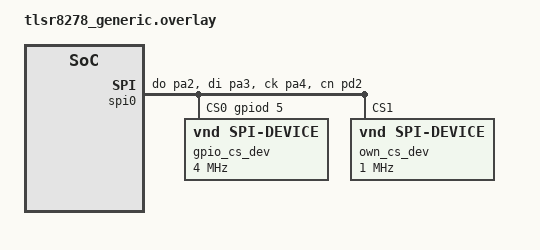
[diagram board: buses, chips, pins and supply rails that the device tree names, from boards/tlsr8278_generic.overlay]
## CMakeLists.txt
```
# SPDX-License-Identifier: Apache-2.0

cmake_minimum_required(VERSION 3.20.0)
find_package(Zephyr REQUIRED HINTS $ENV{ZEPHYR_BASE})
project(spi_tlsr8278)

target_sources(app PRIVATE src/main.c)
```

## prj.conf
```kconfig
CONFIG_ZTEST=y
CONFIG_SPI=y
CONFIG_GPIO=y
CONFIG_CLOCK_CONTROL=y
```

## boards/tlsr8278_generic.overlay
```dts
/*
 * SPDX-License-Identifier: Apache-2.0
 *
 * The SPI master on PA2 (DO), PA3 (DI) and PA4 (CK); a device with its
 * chip select on PD5, active high, and one on the master's own chip
 * select, PD2.
 */

#include <zephyr/dt-bindings/gpio/gpio.h>
#include <zephyr/dt-bindings/pinctrl/b87-pinctrl.h>

&pinctrl {
	spi0_do_pa2: spi0_do_pa2 {
		pinmux = <TLSR8278_PA2_SPI_DO>;
	};

	spi0_di_pa3: spi0_di_pa3 {
		pinmux = <TLSR8278_PA3_SPI_DI>;
		input-enable;
	};

	spi0_ck_pa4: spi0_ck_pa4 {
		pinmux = <TLSR8278_PA4_SPI_CK>;
	};

	spi0_cn_pd2: spi0_cn_pd2 {
		pinmux = <TLSR8278_PD2_SPI_CN>;
	};
};

&gpiod {
	status = "okay";
};

&spi0 {
	status = "okay";
	pinctrl-0 = <&spi0_do_pa2 &spi0_di_pa3 &spi0_ck_pa4 &spi0_cn_pd2>;
	pinctrl-names = "default";
	cs-gpios = <&gpiod 5 GPIO_ACTIVE_HIGH>;

	gpio_cs_dev: device@0 {
		compatible = "vnd,spi-device";
		reg = <0>;
		spi-max-frequency = <4000000>;
		spi-cs-high;
	};

	own_cs_dev: device@1 {
		compatible = "vnd,spi-device";
		reg = <1>;
		spi-max-frequency = <1000000>;
		spi-cpol;
		spi-cpha;
	};
};
```

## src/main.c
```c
/*
 * The TLSR8278 SPI master on tlsr8278_generic, in TC32-devtools' emulator,
 * with the emulator's SPI device (its registers 0xffd8 and 0xffdc): the
 * device gets octets only through the pins the pin controller routes to the
 * SPI and while its chip select is active, keeps what it gets and answers
 * with a count. Writes, writes then reads, the refusal of a full-duplex
 * frame, the clock divider and mode registers, a GPIO chip select (active
 * high) and the master's own.
 *
 * SPDX-License-Identifier: Apache-2.0
 */

#include <zephyr/drivers/gpio.h>
#include <zephyr/drivers/spi.h>
#include <zephyr/sys/sys_io.h>
#include <zephyr/ztest.h>

#define DEV_CFG  0x0080ffd8U /* emulator only */
#define DEV_FIFO 0x0080ffdcU /* emulator only */
#define SPI_CLK  0x0080000aU
#define SPI_MODE 0x0080000bU
#define SPI_CTRL 0x00800009U
#define PD_OUT   0x0080059bU

#define OP (SPI_WORD_SET(8) | SPI_OP_MODE_CONTROLLER)

static const struct spi_dt_spec gpio_cs = SPI_DT_SPEC_GET(DT_NODELABEL(gpio_cs_dev), OP);
static const struct spi_dt_spec own_cs = SPI_DT_SPEC_GET(DT_NODELABEL(own_cs_dev), OP);

/* A device whose chip select is PD5 (active high) or the master's own; it
 * answers with a count from 0x40.
 */
static void device(bool own)
{
	sys_write32((own ? 0xffU << 16 : (BIT(24) | (0x1dU << 16))) | (0x40U << 8) | 2U, DEV_CFG);
}

static uint32_t transactions(void)
{
	return sys_read32(DEV_CFG) >> 16;
}

static uint32_t octets(void)
{
	return sys_read32(DEV_CFG) & 0xffffU;
}

ZTEST(spi_tlsr8278, test_write)
{
	uint8_t tx[] = {0x20, 0x00, 0x11, 0x22};
	struct spi_buf b = {.buf = tx, .len = sizeof(tx)};
	struct spi_buf_set s = {.buffers = &b, .count = 1};

	zassert_true(spi_is_ready_dt(&gpio_cs));
	device(false);
	zassert_ok(spi_write_dt(&gpio_cs, &s));
	zassert_equal(transactions(), 1U);
	zassert_equal(octets(), sizeof(tx));
	for (size_t i = 0; i < sizeof(tx); i++) {
		zassert_equal(sys_read8(DEV_FIFO), tx[i], "octet %u", (unsigned int)i);
	}
	/* 4 MHz from 48 MHz: divider 5, the SPI function on; mode 0; chip select low again. */
	zassert_equal(sys_read8(SPI_CLK), 0x85U, "0x0a 0x%02x", sys_read8(SPI_CLK));
	zassert_equal(sys_read8(SPI_MODE), 0U);
	zassert_equal(sys_read8(PD_OUT) & BIT(5), 0U, "PD5 left high");

	/* A second write is a second transaction. */
	zassert_ok(spi_write_dt(&gpio_cs, &s));
	zassert_equal(transactions(), 2U);
	zassert_equal(octets(), 2U * sizeof(tx));
}

ZTEST(spi_tlsr8278, test_write_then_read)
{
	uint8_t cmd[] = {0x03, 0x10};
	uint8_t in[3] = {0};
	struct spi_buf txb = {.buf = cmd, .len = sizeof(cmd)};
	struct spi_buf rxb[] = {{.buf = NULL, .len = sizeof(cmd)}, {.buf = in, .len = sizeof(in)}};
	struct spi_buf_set tx = {.buffers = &txb, .count = 1};
	struct spi_buf_set rx = {.buffers = rxb, .count = 2};

	device(false);
	zassert_ok(spi_transceive_dt(&gpio_cs, &tx, &rx));
	/* The device counted the two octets it got and answered 0x42-0x44 to the three read. */
	zassert_equal(octets(), 2U);
	zassert_equal(in[0], 0x42, "0x%02x", in[0]);
	zassert_equal(in[1], 0x43);
	zassert_equal(in[2], 0x44);
	/* Exactly five octets clocked: the next answer is 0x45. */
	zassert_ok(spi_transceive_dt(&gpio_cs, NULL, &(struct spi_buf_set){
		.buffers = &(struct spi_buf){.buf = in, .len = 1}, .count = 1}));
	zassert_equal(in[0], 0x45, "an octet more was clocked: 0x%02x", in[0]);
}

ZTEST(spi_tlsr8278, test_full_duplex_refused)
{
	uint8_t out[2] = {1, 2}, in[2];
	struct spi_buf txb = {.buf = out, .len = 2};
	struct spi_buf rxb = {.buf = in, .len = 2};
	struct spi_buf_set tx = {.buffers = &txb, .count = 1};
	struct spi_buf_set rx = {.buffers = &rxb, .count = 1};

	device(false);
	zassert_equal(spi_transceive_dt(&gpio_cs, &tx, &rx), -ENOTSUP);
	zassert_equal(octets(), 0U, "octets sent anyway");
	zassert_equal(transactions(), 0U);
}

ZTEST(spi_tlsr8278, test_own_chip_select)
{
	uint8_t tx[] = {0xa5, 0x5a};
	struct spi_buf b = {.buf = tx, .len = sizeof(tx)};
	struct spi_buf_set s = {.buffers = &b, .count = 1};

	device(true);
	zassert_ok(spi_write_dt(&own_cs, &s));
	zassert_equal(transactions(), 1U);
	zassert_equal(octets(), 2U);
	zassert_equal(sys_read8(DEV_FIFO), 0xa5);
	zassert_equal(sys_read8(DEV_FIFO), 0x5a);
	/* 1 MHz: divider 23; CPOL and CPHA; the own chip select high again. */
	zassert_equal(sys_read8(SPI_CLK), 0x80U | 23U);
	zassert_equal(sys_read8(SPI_MODE), 0x03U);
	zassert_equal(sys_read8(SPI_CTRL) & BIT(0), BIT(0));
}

ZTEST(spi_tlsr8278, test_slowest_clock)
{
	static struct spi_config slow;
	uint8_t tx = 0x77;
	struct spi_buf b = {.buf = &tx, .len = 1};
	struct spi_buf_set s = {.buffers = &b, .count = 1};

	slow = gpio_cs.config;
	slow.frequency = 100000;
	device(false);
	zassert_ok(spi_write(gpio_cs.bus, &slow, &s));
	/* 48 MHz / (2 * 100 kHz) is 240: the divider's largest, 127. */
	zassert_equal(sys_read8(SPI_CLK), 0xffU);
	zassert_equal(octets(), 1U);
}

ZTEST_SUITE(spi_tlsr8278, NULL, NULL, NULL, NULL, NULL);
```
